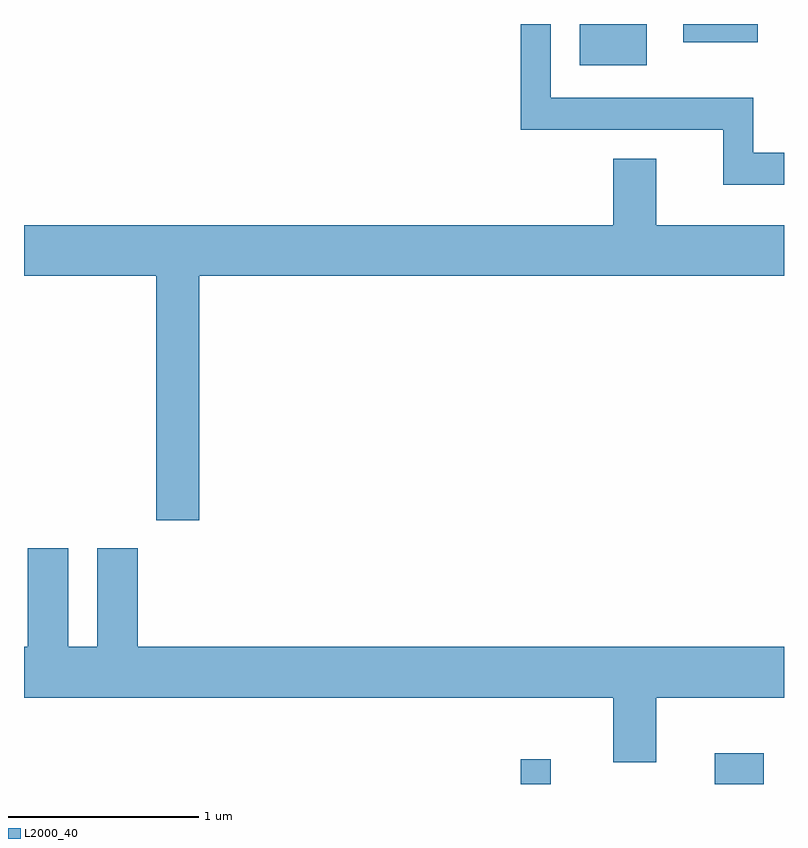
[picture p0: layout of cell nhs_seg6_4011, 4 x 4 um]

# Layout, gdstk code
import gdstk
lib = gdstk.Library(unit=1e-6, precision=1e-09)
def R(c, l, rs):  # rectangles x0, y0, x1, y1
    for r in rs: c.add(gdstk.rectangle(r[:2], r[2:], *l))
def P(c, l, *ps):  # polygons
    for p in ps: c.add(gdstk.Polygon(p, *l))
L2000_40 = (2000, 40)

nhs_seg6_4011 = lib.new_cell('nhs_seg6_4011')
R(nhs_seg6_4011, L2000_40, [(308.226,1636.162,308.384,1636.293), (309.246,1636.162,309.504,1636.324), (308.536,1639.946,308.889,1640.162), (309.081,1640.066,309.474,1640.162)])
P(nhs_seg6_4011, L2000_40, [(309.611,1639.484),(309.449,1639.484),(309.449,1639.774),(308.384,1639.774),(308.384,1640.162),(308.226,1640.162),(308.226,1639.606),(309.291,1639.606),(309.291,1639.316),(309.611,1639.316)],
  [(306.534,1638.836),(309.611,1638.836),(309.611,1639.104),(308.939,1639.104),(308.939,1639.454),(308.711,1639.454),(308.711,1639.104),(305.611,1639.104),(305.611,1638.836),(306.306,1638.836),(306.306,1637.551),(306.534,1637.551)],
  [(308.939,1636.616),(309.611,1636.616),(309.611,1636.884),(306.209,1636.884),(306.209,1637.404),(305.996,1637.404),(305.996,1636.884),(305.844,1636.884),(305.844,1637.404),(305.631,1637.404),(305.631,1636.884),(305.611,1636.884),(305.611,1636.616),(308.711,1636.616),(308.711,1636.276),(308.939,1636.276)])

lib.write_gds('nhs_seg6_4011.gds')
